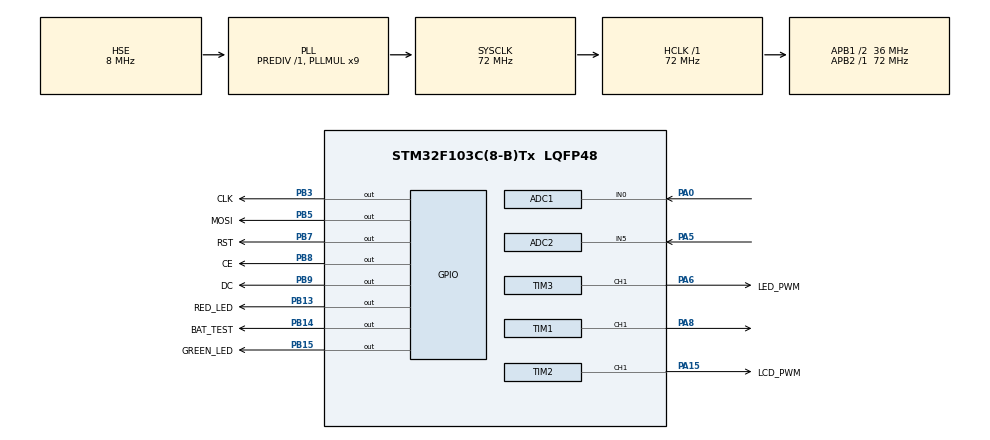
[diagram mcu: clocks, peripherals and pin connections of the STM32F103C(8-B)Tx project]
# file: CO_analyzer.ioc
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ADC1.Channel-1\#ChannelRegularConversion=ADC_CHANNEL_0
ADC1.ContinuousConvMode=ENABLE
ADC1.DiscontinuousConvMode=DISABLE
ADC1.NbrOfConversion=1
ADC1.NbrOfConversionFlag=1
ADC1.Rank-1\#ChannelRegularConversion=1
ADC1.SamplingTime-1\#ChannelRegularConversion=ADC_SAMPLETIME_239CYCLES_5
ADC1.master=1
ADC2.Channel-11\#ChannelRegularConversion=ADC_CHANNEL_5
ADC2.ContinuousConvMode=ENABLE
ADC2.NbrOfConversion=1
ADC2.NbrOfConversionFlag=1
ADC2.Rank-11\#ChannelRegularConversion=1
ADC2.SamplingTime-11\#ChannelRegularConversion=ADC_SAMPLETIME_239CYCLES_5
Mcu.Family=STM32F1
Mcu.Name=STM32F103C(8-B)Tx
Mcu.Package=LQFP48
NVIC.ADC1_2_IRQn=true\:0\:0\:false\:false\:true\:true\:true\:true
NVIC.PriorityGroup=NVIC_PRIORITYGROUP_4
NVIC.TIM4_IRQn=true\:0\:0\:false\:false\:true\:true\:true\:true
PA0-WKUP.Signal=ADCx_IN0
PA13.Mode=Serial_Wire
PA13.Signal=SYS_JTMS-SWDIO
PA14.Mode=Serial_Wire
PA14.Signal=SYS_JTCK-SWCLK
PA15.GPIO_Label=LCD_PWM
PA15.Signal=S_TIM2_CH1_ETR
PA5.Signal=ADCx_IN5
PA6.GPIO_Label=LED_PWM
PA6.GPIO_Speed=GPIO_SPEED_FREQ_LOW
PA6.Signal=S_TIM3_CH1
PA8.Signal=S_TIM1_CH1
PB13.GPIO_Label=RED_LED
PB13.PinState=GPIO_PIN_RESET
PB13.Signal=GPIO_Output
PB14.GPIO_Label=BAT_TEST
PB14.PinState=GPIO_PIN_SET
PB14.Signal=GPIO_Output
PB15.GPIO_Label=GREEN_LED
PB15.Signal=GPIO_Output
PB3.GPIO_Label=CLK
PB3.GPIO_Speed=GPIO_SPEED_FREQ_HIGH
PB3.Signal=GPIO_Output
PB5.GPIO_Label=MOSI
PB5.GPIO_Speed=GPIO_SPEED_FREQ_HIGH
PB5.Signal=GPIO_Output
PB7.GPIO_Label=RST
PB7.Signal=GPIO_Output
PB8.GPIO_Label=CE
PB8.Signal=GPIO_Output
PB9.GPIO_Label=DC
PB9.Signal=GPIO_Output
PD0-OSC_IN.Mode=HSE-External-Oscillator
PD0-OSC_IN.Signal=RCC_OSC_IN
PD1-OSC_OUT.Mode=HSE-External-Oscillator
PD1-OSC_OUT.Signal=RCC_OSC_OUT
ProjectManager.HeapSize=0x200
ProjectManager.StackSize=0x400
ProjectManager.TargetToolchain=STM32CubeIDE
RCC.ADCPresc=RCC_ADCPCLK2_DIV6
RCC.AHBFreq_Value=72000000
RCC.APB1CLKDivider=RCC_HCLK_DIV2
RCC.APB1Freq_Value=36000000
RCC.APB1TimFreq_Value=72000000
RCC.APB2Freq_Value=72000000
RCC.APB2TimFreq_Value=72000000
RCC.HCLKFreq_Value=72000000
RCC.PLLMUL=RCC_PLL_MUL9
RCC.PLLSourceVirtual=RCC_PLLSOURCE_HSE
RCC.SYSCLKFreq_VALUE=72000000
RCC.SYSCLKSource=RCC_SYSCLKSOURCE_PLLCLK
RCC.USBFreq_Value=72000000
SH.ADCx_IN0.0=ADC1_IN0,IN0
SH.ADCx_IN5.0=ADC2_IN5,IN5
SH.S_TIM1_CH1.0=TIM1_CH1,PWM Generation1 CH1
SH.S_TIM2_CH1_ETR.0=TIM2_CH1,PWM Generation1 CH1
SH.S_TIM3_CH1.0=TIM3_CH1,PWM Generation1 CH1
TIM1.Channel-PWM\ Generation1\ CH1=TIM_CHANNEL_1
TIM1.Period=1999
TIM1.Pulse-PWM\ Generation1\ CH1=2000
TIM2.Channel-PWM\ Generation1\ CH1=TIM_CHANNEL_1
TIM2.OCMode_PWM-PWM\ Generation1\ CH1=TIM_OCMODE_PWM1
TIM2.OCPolarity_1=TIM_OCPOLARITY_HIGH
TIM2.Period=1999
TIM2.Prescaler=0
TIM2.Pulse-PWM\ Generation1\ CH1=750
TIM3.Channel-PWM\ Generation1\ CH1=TIM_CHANNEL_1
TIM3.OCPolarity_1=TIM_OCPOLARITY_HIGH
TIM3.Period=5999
TIM3.Prescaler=35999
TIM3.Pulse-PWM\ Generation1\ CH1=600
TIM4.AutoReloadPreload=TIM_AUTORELOAD_PRELOAD_DISABLE
TIM4.Period=2000-1
TIM4.Prescaler=35999
VP_TIM1_VS_ClockSourceINT.Mode=Internal
VP_TIM2_VS_ClockSourceINT.Mode=Internal
VP_TIM3_VS_ClockSourceINT.Mode=Internal
VP_TIM4_VS_ClockSourceINT.Mode=Internal
board=custom

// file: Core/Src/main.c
/* USER CODE BEGIN Header */
/**
  ******************************************************************************
  * @file           : main.c
  * @brief          : Main program body
  ******************************************************************************
  * @attention
  *
  * Copyright (c) 2022 STMicroelectronics.
  * All rights reserved.
  *
  * This software is licensed under terms that can be found in the LICENSE file
  * in the root directory of this software component.
  * If no LICENSE file comes with this software, it is provided AS-IS.
  *
  ******************************************************************************
  */
/* USER CODE END Header */
#include "main.h"

/* USER CODE BEGIN Includes */
#include "nokia5110_LCD.h"
#include <stdlib.h>

/* USER CODE END Includes */

/* USER CODE BEGIN PD */
#define NUMBER_VALUES_IN_FILTER 101 //must be odd!!
/* USER CODE END PD */

 ADC_HandleTypeDef hadc1;
ADC_HandleTypeDef hadc2;

TIM_HandleTypeDef htim1;
TIM_HandleTypeDef htim2;
TIM_HandleTypeDef htim3;
TIM_HandleTypeDef htim4;

/* USER CODE BEGIN PV */
uint8_t cycleTime = 0;
uint16_t adcDataVoltage = 0;
uint16_t adcDataCO = 0;
uint16_t voltage = 0;
uint16_t CoSensorVoltage = 0;
uint16_t pwmLedArr = 6000;

//uint32_t count = 0;

/* USER CODE END PV */

void SystemClock_Config(void);
static void MX_GPIO_Init(void);
static void MX_ADC1_Init(void);
static void MX_TIM4_Init(void);
static void MX_TIM2_Init(void);
static void MX_TIM3_Init(void);
static void MX_TIM1_Init(void);
static void MX_ADC2_Init(void);

int main(void)
{

  /* MCU Configuration--------------------------------------------------------*/

  /* Reset of all peripherals, Initializes the Flash interface and the Systick. */
  HAL_Init();

  /* Configure the system clock */
  SystemClock_Config();

  /* Initialize all configured peripherals */
  MX_GPIO_Init();
  MX_ADC1_Init();
  MX_TIM4_Init();
  MX_TIM2_Init();
  MX_TIM3_Init();
  MX_TIM1_Init();
  MX_ADC2_Init();
  /* USER CODE BEGIN 2 */
  LCD_setRST(GPIOB, GPIO_PIN_7);
  LCD_setCE(GPIOB, GPIO_PIN_8);
  LCD_setDC(GPIOB, GPIO_PIN_9);
  LCD_setDIN(GPIOB, GPIO_PIN_5);
  LCD_setCLK(GPIOB, GPIO_PIN_3);

  HAL_ADCEx_Calibration_Start(&hadc1);
  HAL_ADCEx_Calibration_Start(&hadc2);

  HAL_ADC_Start_IT(&hadc1);

  HAL_TIM_Base_Start_IT(&htim4);

  HAL_TIM_PWM_Start(&htim2, TIM_CHANNEL_1);

  HAL_TIM_PWM_Start(&htim1, TIM_CHANNEL_1);

  LCD_init();

  LCD_print("Follow the", 10, 0);
  LCD_print("instructions", 5, 1);
  LCD_print("on the screen", 2, 2);

  LCD_print("Measurement", 10, 4);
  LCD_print("takes 2.5 min.", 1, 5);

  /* USER CODE END 2 */

  /* Infinite loop */
  while (1)
  {

  }
}

void SystemClock_Config(void)
{
  RCC_OscInitTypeDef RCC_OscInitStruct = {0};
  RCC_ClkInitTypeDef RCC_ClkInitStruct = {0};
  RCC_PeriphCLKInitTypeDef PeriphClkInit = {0};

  /** Initializes the RCC Oscillators according to the specified parameters
  * in the RCC_OscInitTypeDef structure.
  */
  RCC_OscInitStruct.OscillatorType = RCC_OSCILLATORTYPE_HSE;
  RCC_OscInitStruct.HSEState = RCC_HSE_ON;
  RCC_OscInitStruct.HSEPredivValue = RCC_HSE_PREDIV_DIV1;
  RCC_OscInitStruct.HSIState = RCC_HSI_ON;
  RCC_OscInitStruct.PLL.PLLState = RCC_PLL_ON;
  RCC_OscInitStruct.PLL.PLLSource = RCC_PLLSOURCE_HSE;
  RCC_OscInitStruct.PLL.PLLMUL = RCC_PLL_MUL9;
  if (HAL_RCC_OscConfig(&RCC_OscInitStruct) != HAL_OK)
  {
    Error_Handler();
  }

  /** Initializes the CPU, AHB and APB buses clocks
  */
  RCC_ClkInitStruct.ClockType = RCC_CLOCKTYPE_HCLK|RCC_CLOCKTYPE_SYSCLK
                              |RCC_CLOCKTYPE_PCLK1|RCC_CLOCKTYPE_PCLK2;
  RCC_ClkInitStruct.SYSCLKSource = RCC_SYSCLKSOURCE_PLLCLK;
  RCC_ClkInitStruct.AHBCLKDivider = RCC_SYSCLK_DIV1;
  RCC_ClkInitStruct.APB1CLKDivider = RCC_HCLK_DIV2;
  RCC_ClkInitStruct.APB2CLKDivider = RCC_HCLK_DIV1;

  if (HAL_RCC_ClockConfig(&RCC_ClkInitStruct, FLASH_LATENCY_2) != HAL_OK)
  {
    Error_Handler();
  }
  PeriphClkInit.PeriphClockSelection = RCC_PERIPHCLK_ADC;
  PeriphClkInit.AdcClockSelection = RCC_ADCPCLK2_DIV6;
  if (HAL_RCCEx_PeriphCLKConfig(&PeriphClkInit) != HAL_OK)
  {
    Error_Handler();
  }
}

static void MX_ADC1_Init(void)
{

  ADC_ChannelConfTypeDef sConfig = {0};

  /** Common config
  */
  hadc1.Instance = ADC1;
  hadc1.Init.ScanConvMode = ADC_SCAN_DISABLE;
  hadc1.Init.ContinuousConvMode = ENABLE;
  hadc1.Init.DiscontinuousConvMode = DISABLE;
  hadc1.Init.ExternalTrigConv = ADC_SOFTWARE_START;
  hadc1.Init.DataAlign = ADC_DATAALIGN_RIGHT;
  hadc1.Init.NbrOfConversion = 1;
  if (HAL_ADC_Init(&hadc1) != HAL_OK)
  {
    Error_Handler();
  }

  /** Configure Regular Channel
  */
  sConfig.Channel = ADC_CHANNEL_0;
  sConfig.Rank = ADC_REGULAR_RANK_1;
  sConfig.SamplingTime = ADC_SAMPLETIME_239CYCLES_5;
  if (HAL_ADC_ConfigChannel(&hadc1, &sConfig) != HAL_OK)
  {
    Error_Handler();
  }

}

static void MX_ADC2_Init(void)
{

  ADC_ChannelConfTypeDef sConfig = {0};

  /** Common config
  */
  hadc2.Instance = ADC2;
  hadc2.Init.ScanConvMode = ADC_SCAN_DISABLE;
  hadc2.Init.ContinuousConvMode = ENABLE;
  hadc2.Init.DiscontinuousConvMode = DISABLE;
  hadc2.Init.ExternalTrigConv = ADC_SOFTWARE_START;
  hadc2.Init.DataAlign = ADC_DATAALIGN_RIGHT;
  hadc2.Init.NbrOfConversion = 1;
  if (HAL_ADC_Init(&hadc2) != HAL_OK)
  {
    Error_Handler();
  }

  /** Configure Regular Channel
  */
  sConfig.Channel = ADC_CHANNEL_5;
  sConfig.Rank = ADC_REGULAR_RANK_1;
  sConfig.SamplingTime = ADC_SAMPLETIME_239CYCLES_5;
  if (HAL_ADC_ConfigChannel(&hadc2, &sConfig) != HAL_OK)
  {
    Error_Handler();
  }

}

static void MX_TIM1_Init(void)
{

  TIM_ClockConfigTypeDef sClockSourceConfig = {0};
  TIM_MasterConfigTypeDef sMasterConfig = {0};
  TIM_OC_InitTypeDef sConfigOC = {0};
  TIM_BreakDeadTimeConfigTypeDef sBreakDeadTimeConfig = {0};

  htim1.Instance = TIM1;
  htim1.Init.Prescaler = 0;
  htim1.Init.CounterMode = TIM_COUNTERMODE_UP;
  htim1.Init.Period = 1999;
  htim1.Init.ClockDivision = TIM_CLOCKDIVISION_DIV1;
  htim1.Init.RepetitionCounter = 0;
  htim1.Init.AutoReloadPreload = TIM_AUTORELOAD_PRELOAD_DISABLE;
  if (HAL_TIM_Base_Init(&htim1) != HAL_OK)
  {
    Error_Handler();
  }
  sClockSourceConfig.ClockSource = TIM_CLOCKSOURCE_INTERNAL;
  if (HAL_TIM_ConfigClockSource(&htim1, &sClockSourceConfig) != HAL_OK)
  {
    Error_Handler();
  }
  if (HAL_TIM_PWM_Init(&htim1) != HAL_OK)
  {
    Error_Handler();
  }
  sMasterConfig.MasterOutputTrigger = TIM_TRGO_RESET;
  sMasterConfig.MasterSlaveMode = TIM_MASTERSLAVEMODE_DISABLE;
  if (HAL_TIMEx_MasterConfigSynchronization(&htim1, &sMasterConfig) != HAL_OK)
  {
    Error_Handler();
  }
  sConfigOC.OCMode = TIM_OCMODE_PWM1;
  sConfigOC.Pulse = 2000;
  sConfigOC.OCPolarity = TIM_OCPOLARITY_HIGH;
  sConfigOC.OCNPolarity = TIM_OCNPOLARITY_HIGH;
  sConfigOC.OCFastMode = TIM_OCFAST_DISABLE;
  sConfigOC.OCIdleState = TIM_OCIDLESTATE_RESET;
  sConfigOC.OCNIdleState = TIM_OCNIDLESTATE_RESET;
  if (HAL_TIM_PWM_ConfigChannel(&htim1, &sConfigOC, TIM_CHANNEL_1) != HAL_OK)
  {
    Error_Handler();
  }
  sBreakDeadTimeConfig.OffStateRunMode = TIM_OSSR_DISABLE;
  sBreakDeadTimeConfig.OffStateIDLEMode = TIM_OSSI_DISABLE;
  sBreakDeadTimeConfig.LockLevel = TIM_LOCKLEVEL_OFF;
  sBreakDeadTimeConfig.DeadTime = 0;
  sBreakDeadTimeConfig.BreakState = TIM_BREAK_DISABLE;
  sBreakDeadTimeConfig.BreakPolarity = TIM_BREAKPOLARITY_HIGH;
  sBreakDeadTimeConfig.AutomaticOutput = TIM_AUTOMATICOUTPUT_DISABLE;
  if (HAL_TIMEx_ConfigBreakDeadTime(&htim1, &sBreakDeadTimeConfig) != HAL_OK)
  {
    Error_Handler();
  }
  HAL_TIM_MspPostInit(&htim1);

}

static void MX_TIM2_Init(void)
{

  TIM_ClockConfigTypeDef sClockSourceConfig = {0};
  TIM_MasterConfigTypeDef sMasterConfig = {0};
  TIM_OC_InitTypeDef sConfigOC = {0};

  htim2.Instance = TIM2;
  htim2.Init.Prescaler = 0;
  htim2.Init.CounterMode = TIM_COUNTERMODE_UP;
  htim2.Init.Period = 1999;
  htim2.Init.ClockDivision = TIM_CLOCKDIVISION_DIV1;
  htim2.Init.AutoReloadPreload = TIM_AUTORELOAD_PRELOAD_DISABLE;
  if (HAL_TIM_Base_Init(&htim2) != HAL_OK)
  {
    Error_Handler();
  }
  sClockSourceConfig.ClockSource = TIM_CLOCKSOURCE_INTERNAL;
  if (HAL_TIM_ConfigClockSource(&htim2, &sClockSourceConfig) != HAL_OK)
  {
    Error_Handler();
  }
  if (HAL_TIM_PWM_Init(&htim2) != HAL_OK)
  {
    Error_Handler();
  }
  sMasterConfig.MasterOutputTrigger = TIM_TRGO_RESET;
  sMasterConfig.MasterSlaveMode = TIM_MASTERSLAVEMODE_DISABLE;
  if (HAL_TIMEx_MasterConfigSynchronization(&htim2, &sMasterConfig) != HAL_OK)
  {
    Error_Handler();
  }
  sConfigOC.OCMode = TIM_OCMODE_PWM1;
  sConfigOC.Pulse = 750;
  sConfigOC.OCPolarity = TIM_OCPOLARITY_HIGH;
  sConfigOC.OCFastMode = TIM_OCFAST_DISABLE;
  if (HAL_TIM_PWM_ConfigChannel(&htim2, &sConfigOC, TIM_CHANNEL_1) != HAL_OK)
  {
    Error_Handler();
  }
  HAL_TIM_MspPostInit(&htim2);

}

static void MX_TIM3_Init(void)
{

  TIM_ClockConfigTypeDef sClockSourceConfig = {0};
  TIM_MasterConfigTypeDef sMasterConfig = {0};
  TIM_OC_InitTypeDef sConfigOC = {0};

  htim3.Instance = TIM3;
  htim3.Init.Prescaler = 35999;
  htim3.Init.CounterMode = TIM_COUNTERMODE_UP;
  htim3.Init.Period = 5999;
  htim3.Init.ClockDivision = TIM_CLOCKDIVISION_DIV1;
  htim3.Init.AutoReloadPreload = TIM_AUTORELOAD_PRELOAD_DISABLE;
  if (HAL_TIM_Base_Init(&htim3) != HAL_OK)
  {
    Error_Handler();
  }
  sClockSourceConfig.ClockSource = TIM_CLOCKSOURCE_INTERNAL;
  if (HAL_TIM_ConfigClockSource(&htim3, &sClockSourceConfig) != HAL_OK)
  {
    Error_Handler();
  }
  if (HAL_TIM_PWM_Init(&htim3) != HAL_OK)
  {
    Error_Handler();
  }
  sMasterConfig.MasterOutputTrigger = TIM_TRGO_RESET;
  sMasterConfig.MasterSlaveMode = TIM_MASTERSLAVEMODE_DISABLE;
  if (HAL_TIMEx_MasterConfigSynchronization(&htim3, &sMasterConfig) != HAL_OK)
  {
    Error_Handler();
  }
  sConfigOC.OCMode = TIM_OCMODE_PWM1;
  sConfigOC.Pulse = 600;
  sConfigOC.OCPolarity = TIM_OCPOLARITY_HIGH;
  sConfigOC.OCFastMode = TIM_OCFAST_DISABLE;
  if (HAL_TIM_PWM_ConfigChannel(&htim3, &sConfigOC, TIM_CHANNEL_1) != HAL_OK)
  {
    Error_Handler();
  }
  HAL_TIM_MspPostInit(&htim3);

}

static void MX_TIM4_Init(void)
{

  TIM_ClockConfigTypeDef sClockSourceConfig = {0};
  TIM_MasterConfigTypeDef sMasterConfig = {0};

  htim4.Instance = TIM4;
  htim4.Init.Prescaler = 35999;
  htim4.Init.CounterMode = TIM_COUNTERMODE_UP;
  htim4.Init.Period = 2000-1;
  htim4.Init.ClockDivision = TIM_CLOCKDIVISION_DIV1;
  htim4.Init.AutoReloadPreload = TIM_AUTORELOAD_PRELOAD_DISABLE;
  if (HAL_TIM_Base_Init(&htim4) != HAL_OK)
  {
    Error_Handler();
  }
  sClockSourceConfig.ClockSource = TIM_CLOCKSOURCE_INTERNAL;
  if (HAL_TIM_ConfigClockSource(&htim4, &sClockSourceConfig) != HAL_OK)
  {
    Error_Handler();
  }
  sMasterConfig.MasterOutputTrigger = TIM_TRGO_RESET;
  sMasterConfig.MasterSlaveMode = TIM_MASTERSLAVEMODE_DISABLE;
  if (HAL_TIMEx_MasterConfigSynchronization(&htim4, &sMasterConfig) != HAL_OK)
  {
    Error_Handler();
  }

}

static void MX_GPIO_Init(void)
{
  GPIO_InitTypeDef GPIO_InitStruct = {0};

  /* GPIO Ports Clock Enable */
  __HAL_RCC_GPIOD_CLK_ENABLE();
  __HAL_RCC_GPIOA_CLK_ENABLE();
  __HAL_RCC_GPIOB_CLK_ENABLE();

  /*Configure GPIO pin Output Level */
  HAL_GPIO_WritePin(GPIOB, RED_LED_Pin|GREEN_LED_Pin|CLK_Pin|MOSI_Pin
                          |RST_Pin|CE_Pin|DC_Pin, GPIO_PIN_RESET);

  /*Configure GPIO pin Output Level */
  HAL_GPIO_WritePin(BAT_TEST_GPIO_Port, BAT_TEST_Pin, GPIO_PIN_SET);

  /*Configure GPIO pins : RED_LED_Pin BAT_TEST_Pin GREEN_LED_Pin RST_Pin
                           CE_Pin DC_Pin */
  GPIO_InitStruct.Pin = RED_LED_Pin|BAT_TEST_Pin|GREEN_LED_Pin|RST_Pin
                          |CE_Pin|DC_Pin;
  GPIO_InitStruct.Mode = GPIO_MODE_OUTPUT_PP;
  GPIO_InitStruct.Pull = GPIO_NOPULL;
  GPIO_InitStruct.Speed = GPIO_SPEED_FREQ_LOW;
  HAL_GPIO_Init(GPIOB, &GPIO_InitStruct);

  /*Configure GPIO pins : CLK_Pin MOSI_Pin */
  GPIO_InitStruct.Pin = CLK_Pin|MOSI_Pin;
  GPIO_InitStruct.Mode = GPIO_MODE_OUTPUT_PP;
  GPIO_InitStruct.Pull = GPIO_NOPULL;
  GPIO_InitStruct.Speed = GPIO_SPEED_FREQ_HIGH;
  HAL_GPIO_Init(GPIOB, &GPIO_InitStruct);

}

/* USER CODE BEGIN 4 */

void HAL_ADC_ConvCpltCallback(ADC_HandleTypeDef* hadc)
{

	if(hadc->Instance == ADC1)
	  {
		 uint16_t filteredResForBattery = 0;
		 adcDataVoltage = HAL_ADC_GetValue(&hadc1);
		 if(filterAdcValue(adcDataVoltage, &filteredResForBattery))
		 {
			 voltage = filteredResForBattery;
		 }
	  }

	 if(hadc->Instance == ADC2)
	  {
		 uint16_t filteredResForCO = 0;
		 adcDataCO = HAL_ADC_GetValue(&hadc2);
		 if(filterAdcValue(adcDataCO, &filteredResForCO))
		 	{
		 		CoSensorVoltage = filteredResForCO;
		 		showResultsStartsNewCycle();
		 	}
	  }

}

void HAL_TIM_PeriodElapsedCallback(TIM_HandleTypeDef *htim)
{
	char str[4];

	if (htim == &htim4)
	{
		cycleTime++;

		if (cycleTime < 7)
		{
			return;
		}

		if (cycleTime == 7)
		{
			//blue led
			HAL_TIM_PWM_Start(&htim3, TIM_CHANNEL_1);

			//turn off LEDs
			//PB15 - Green; PB13 - Red
			HAL_GPIO_WritePin(RED_LED_GPIO_Port, RED_LED_Pin, GPIO_PIN_RESET);
			HAL_GPIO_WritePin(GREEN_LED_GPIO_Port, GREEN_LED_Pin, GPIO_PIN_RESET);
		}

		if (cycleTime < 143)
		{
			LCD_clrScr();

			uint16_t bat = (double)voltage * 1.111;  //* 3.3 / 4.096 * 1.379;
			itoa(bat, str, 10);
			LCD_print(str, 50, 0);

			LCD_print("Warming up", 15, 2);

			uint8_t secLeft = 150 - cycleTime;
			itoa(secLeft, str, 10);
			LCD_print(str, 33, 3);

			LCD_print("seconds left", 5, 4);

			//blue led
			pwmLedArr -= 35;
			setTimerPeriod(&htim3, pwmLedArr);

			if (cycleTime == 66)
			{
				//sensor
				__HAL_TIM_SET_COMPARE(&htim1,TIM_CHANNEL_1, 650);
			}

			return;
		}

		if (cycleTime == 143)
		{
			//blue led
			//setTimerPeriod(&htim3, 5999);
			__HAL_TIM_SET_COMPARE(&htim3,TIM_CHANNEL_1, 6000);

		}

		if (cycleTime < 150)
		{
			LCD_clrScr();

			LCD_print("Measurement", 7, 0);

			LCD_print("Turn on gas!", 6, 2);

			uint8_t secLeft = 150 - cycleTime;
			itoa(secLeft, str, 10);
			LCD_print(str, 37, 4);

			LCD_print("seconds left", 5, 5);

			return;
		}

		if (cycleTime == 150)
		{
			//sensor
			__HAL_TIM_SET_COMPARE(&htim1,TIM_CHANNEL_1, 0);
			//blue led
			//__HAL_TIM_SET_COMPARE(&htim3,TIM_CHANNEL_1, 0);
			HAL_TIM_PWM_Stop(&htim3, TIM_CHANNEL_1);
			//lcd
			__HAL_TIM_SET_COMPARE(&htim2,TIM_CHANNEL_1, 2000);

			//adc
			HAL_ADC_Stop_IT(&hadc1);
			HAL_ADC_Start_IT(&hadc2);
		}

	}
}

uint8_t filterAdcValue(uint16_t adcRawData,  uint16_t* filteredResult)
{
	static uint8_t numberInBigArray = 0;
	static uint8_t numberInSmallArray = 0;

	static uint16_t bigArray[NUMBER_VALUES_IN_FILTER];
	static uint16_t smallArray[NUMBER_VALUES_IN_FILTER];

	smallArray[numberInSmallArray] = adcRawData;
	if(++numberInSmallArray == NUMBER_VALUES_IN_FILTER)
	{
		numberInSmallArray = 0;
		sortArray(smallArray, NUMBER_VALUES_IN_FILTER);
		uint16_t medianValue = smallArray[(NUMBER_VALUES_IN_FILTER-1)/2];

		bigArray[numberInBigArray] = medianValue;
		if(++numberInBigArray == NUMBER_VALUES_IN_FILTER)
		{
			numberInBigArray = 0;
			sortArray(bigArray, NUMBER_VALUES_IN_FILTER);
			*filteredResult = smallArray[(NUMBER_VALUES_IN_FILTER-1)/2];
			return 1;
		}
	}
	return 0;
}

void sortArray(uint16_t* array, uint8_t numberOfElements)
{
	while(numberOfElements--)
		{
			bool swapped = false;

			for(int i = 0; i < numberOfElements; i++)
			{
				if(array[i] > array[i + 1])
				{
					uint16_t tempValue = array[i];
					array[i] = array[i + 1];
					array[i + 1] = tempValue;
					swapped = true;
				}
			}

			if(swapped == false)
			{
				break;
			}
		}
}

void showResultsStartsNewCycle()
{
  HAL_ADC_Stop_IT(&hadc2);

  calculateAndShowResults();

  //sensor
  __HAL_TIM_SET_COMPARE(&htim1,TIM_CHANNEL_1, 2000);
  //blue led
  __HAL_TIM_SET_COMPARE(&htim3,TIM_CHANNEL_1, 600);
  setTimerPeriod(&htim3, 5999);
  pwmLedArr = 6000;
  //lcd
  __HAL_TIM_SET_COMPARE(&htim2,TIM_CHANNEL_1, 750);

  HAL_ADC_Start_IT(&hadc1);
  cycleTime = 0;
}

void calculateAndShowResults()
{

	uint16_t co = (double)CoSensorVoltage * 3.3 / 4.096;
	char str[4];
	itoa(co, str, 10);

	LCD_clrScr();

	LCD_print("Approximate", 9, 0);
	LCD_print("level CO, mV:", 1, 1);

	LCD_print(str, 20, 3);

	if (co > CO_LIMIT)
	{
		HAL_GPIO_WritePin(RED_LED_GPIO_Port, RED_LED_Pin, GPIO_PIN_SET);
		LCD_print("Dangerous!!!", 9, 5);
	}
	else
	{
		HAL_GPIO_WritePin(GPIOB, GPIO_PIN_15, GPIO_PIN_SET);
		LCD_print("Safe!", 16, 5);
	}

}

void setTimerPeriod(TIM_HandleTypeDef *tim, uint16_t periodMs)
{
	__HAL_TIM_SET_AUTORELOAD(tim, periodMs);
	if (__HAL_TIM_GET_COUNTER(tim) >= __HAL_TIM_GET_AUTORELOAD(tim))
		{
		tim->Instance->EGR |= TIM_EGR_UG;
		}
}

/* USER CODE END 4 */

void Error_Handler(void)
{
  __disable_irq();
  while (1)
  {
  }
}
